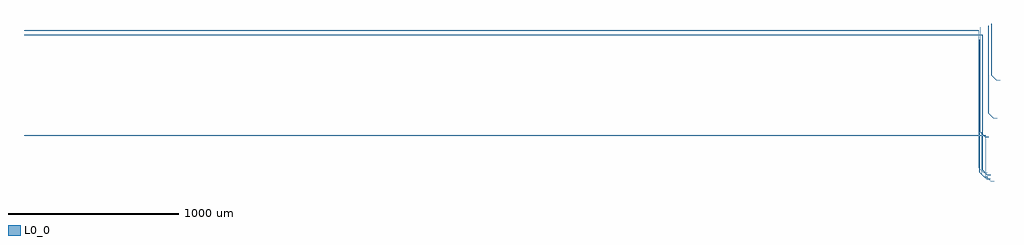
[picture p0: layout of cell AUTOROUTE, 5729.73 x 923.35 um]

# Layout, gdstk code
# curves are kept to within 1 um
import gdstk
lib = gdstk.Library(unit=1e-6, precision=1e-09)
def P(c, l, *ps):  # polygons
    for p in ps: c.add(gdstk.Polygon(p, *l))
L0_0 = (0, 0)

autoroute = lib.new_cell('AUTOROUTE')
P(autoroute, L0_0, [(5429.736,2832.47),(5429.736,2833.27),(5409.19,2833.27),(5380.134,2862.326),(5380.134,3164.177),(-299.996,3164.177),(-299.996,3163.377),(5379.334,3163.377),(5379.334,2861.995),(5408.859,2832.47)],
  [(5412.221,2610.205),(5412.221,2611.005),(5391.675,2611.005),(5362.619,2640.061),(5362.619,3154.177),(-299.996,3154.177),(-299.996,3153.377),(5361.819,3153.377),(5361.819,2639.73),(5391.344,2610.205)],
  [(5363.33,2499.671),(5363.33,2500.471),(5342.784,2500.471),(5313.728,2529.527),(5313.728,3144.177),(-299.996,3144.177),(-299.996,3143.377),(5312.928,3143.377),(5312.928,2529.196),(5342.453,2499.671)],
  [(5355.79,2289.619),(5355.79,2290.419),(5335.244,2290.419),(5306.188,2319.475),(5306.188,3125.9),(-299.996,3125.9),(-299.996,3125.1),(5305.388,3125.1),(5305.388,2319.144),(5334.913,2289.619)],
  [(5376.872,2276.588),(5376.872,2277.388),(5356.326,2277.388),(5327.27,2306.444),(5327.27,3098.9),(-299.996,3098.9),(-299.996,3098.1),(5326.47,3098.1),(5326.47,2306.113),(5355.995,2276.588)],
  [(5359.089,2264.591),(5359.089,2265.391),(5338.543,2265.391),(5309.487,2294.447),(5309.487,3071.9),(-299.996,3071.9),(-299.996,3071.1),(5308.687,3071.1),(5308.687,2294.116),(5338.212,2264.591)],
  [(5372.219,2252.715),(5372.219,2253.515),(5351.673,2253.515),(5322.617,2282.571),(5322.617,2529.177),(-299.996,2529.177),(-299.996,2528.377),(5321.817,2528.377),(5321.817,2282.24),(5351.342,2252.715)],
  [(5395.943,2240.832),(5395.943,2241.632),(5375.397,2241.632),(5346.341,2270.688),(5346.341,2509.177),(-299.996,2509.177),(-299.996,2508.377),(5345.541,2508.377),(5345.541,2270.357),(5375.066,2240.832)])

lib.write_gds('AUTOROUTE.gds')
